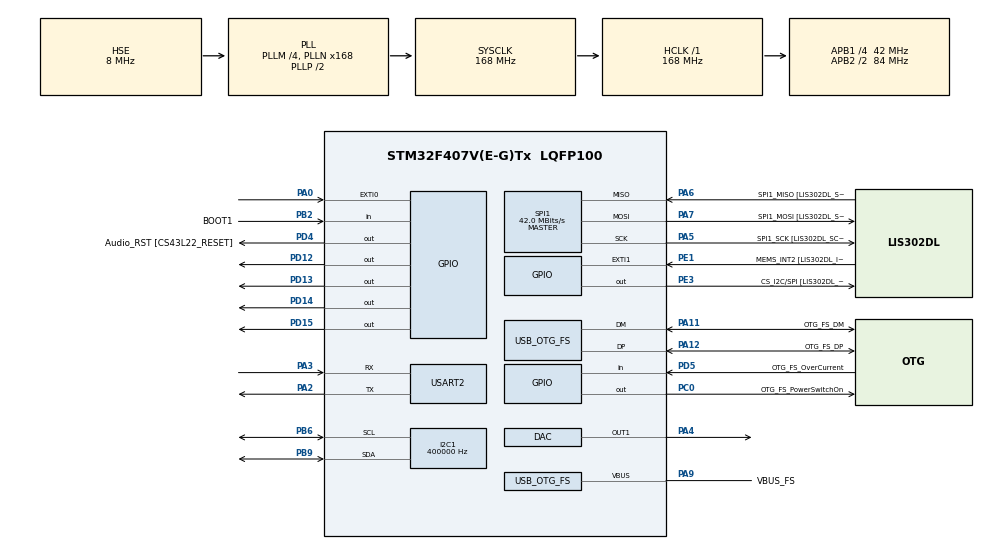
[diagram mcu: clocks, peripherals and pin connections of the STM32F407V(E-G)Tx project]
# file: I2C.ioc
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ADC1.Channel-2\#ChannelRegularConversion=ADC_CHANNEL_TEMPSENSOR
ADC1.ContinuousConvMode=ENABLE
ADC1.NbrOfConversionFlag=1
ADC1.Rank-2\#ChannelRegularConversion=1
ADC1.SamplingTime-2\#ChannelRegularConversion=ADC_SAMPLETIME_84CYCLES
ADC1.master=1
I2C1.ClockSpeed=400000
I2C1.I2C_Mode=I2C_Fast
Mcu.Family=STM32F4
Mcu.Name=STM32F407V(E-G)Tx
Mcu.Package=LQFP100
NVIC.EXTI0_IRQn=true\:3\:0\:true\:false\:true\:true\:true
NVIC.I2C1_ER_IRQn=true\:1\:0\:true\:false\:true\:true\:true
NVIC.I2C1_EV_IRQn=true\:1\:0\:true\:false\:true\:true\:true
NVIC.OTG_FS_IRQn=true\:0\:0\:false\:false\:true\:true\:true
NVIC.PriorityGroup=NVIC_PRIORITYGROUP_4
NVIC.TIM7_IRQn=true\:2\:0\:true\:false\:true\:true\:true
NVIC.USART2_IRQn=true\:2\:0\:true\:false\:true\:true\:true
PA0-WKUP.Signal=GPXTI0
PA10.GPIO_Label=OTG_FS_ID
PA10.GPIO_Mode=GPIO_MODE_AF_PP
PA10.GPIO_PuPd=GPIO_NOPULL
PA10.GPIO_Speed=GPIO_SPEED_FREQ_LOW
PA10.Signal=USB_OTG_FS_ID
PA11.GPIO_Label=OTG_FS_DM
PA11.GPIO_Mode=GPIO_MODE_AF_PP
PA11.GPIO_PuPd=GPIO_NOPULL
PA11.GPIO_Speed=GPIO_SPEED_FREQ_LOW
PA11.Mode=Host_Only
PA11.Signal=USB_OTG_FS_DM
PA12.GPIO_Label=OTG_FS_DP
PA12.GPIO_Mode=GPIO_MODE_AF_PP
PA12.GPIO_PuPd=GPIO_NOPULL
PA12.GPIO_Speed=GPIO_SPEED_FREQ_LOW
PA12.Mode=Host_Only
PA12.Signal=USB_OTG_FS_DP
PA13.GPIO_Label=SWDIO
PA13.Mode=Serial_Wire
PA13.Signal=SYS_JTMS-SWDIO
PA14.GPIO_Label=SWCLK
PA14.Mode=Serial_Wire
PA14.Signal=SYS_JTCK-SWCLK
PA2.Mode=Asynchronous
PA2.Signal=USART2_TX
PA3.Mode=Asynchronous
PA3.Signal=USART2_RX
PA4.Signal=COMP_DAC1_group
PA5.GPIO_Label=SPI1_SCK [LIS302DL_SCL/SPC]
PA5.GPIO_Mode=GPIO_MODE_AF_PP
PA5.GPIO_PuPd=GPIO_NOPULL
PA5.GPIO_Speed=GPIO_SPEED_FREQ_LOW
PA5.Mode=Full_Duplex_Master
PA5.Signal=SPI1_SCK
PA6.GPIO_Label=SPI1_MISO [LIS302DL_SDO]
PA6.GPIO_Mode=GPIO_MODE_AF_PP
PA6.GPIO_PuPd=GPIO_NOPULL
PA6.GPIO_Speed=GPIO_SPEED_FREQ_LOW
PA6.Mode=Full_Duplex_Master
PA6.Signal=SPI1_MISO
PA7.GPIO_Label=SPI1_MOSI [LIS302DL_SDA/SDI/SDO]
PA7.GPIO_Mode=GPIO_MODE_AF_PP
PA7.GPIO_PuPd=GPIO_NOPULL
PA7.GPIO_Speed=GPIO_SPEED_FREQ_LOW
PA7.Mode=Full_Duplex_Master
PA7.Signal=SPI1_MOSI
PA9.GPIO_Label=VBUS_FS
PA9.GPIO_Mode=GPIO_MODE_INPUT
PA9.GPIO_PuPd=GPIO_NOPULL
PA9.Mode=Activate_VBUS
PA9.Signal=USB_OTG_FS_VBUS
PB10.GPIO_Label=CLK_IN [MP45DT02_CLK]
PB10.GPIO_Mode=GPIO_MODE_AF_PP
PB10.GPIO_PuPd=GPIO_NOPULL
PB10.GPIO_Speed=GPIO_SPEED_FREQ_LOW
PB10.Signal=I2S2_CK
PB2.GPIO_Label=BOOT1
PB2.GPIO_Mode=GPIO_MODE_INPUT
PB2.GPIO_PuPd=GPIO_NOPULL
PB2.Signal=GPIO_Input
PB3.GPIO_Label=SWO
PB3.Signal=SYS_JTDO-SWO
PB6.GPIO_PuPdOD=GPIO_PULLUP
PB6.Mode=I2C
PB6.Signal=I2C1_SCL
PB9.GPIO_PuPdOD=GPIO_PULLUP
PB9.Mode=I2C
PB9.Signal=I2C1_SDA
PC0.GPIO_Label=OTG_FS_PowerSwitchOn
PC0.GPIO_PuPd=GPIO_NOPULL
PC0.GPIO_Speed=GPIO_SPEED_FREQ_LOW
PC0.PinState=GPIO_PIN_SET
PC0.Signal=GPIO_Output
PC10.GPIO_Label=I2S3_SCK [CS43L22_SCLK]
PC10.GPIO_Mode=GPIO_MODE_AF_PP
PC10.GPIO_PuPd=GPIO_NOPULL
PC10.GPIO_Speed=GPIO_SPEED_FREQ_LOW
PC10.Signal=I2S3_CK
PC12.GPIO_Label=I2S3_SD [CS43L22_SDIN]
PC12.GPIO_Mode=GPIO_MODE_AF_PP
PC12.GPIO_PuPd=GPIO_NOPULL
PC12.GPIO_Speed=GPIO_SPEED_FREQ_LOW
PC12.Signal=I2S3_SD
PC14-OSC32_IN.GPIO_Label=PC14-OSC32_IN
PC14-OSC32_IN.Mode=LSE-External-Oscillator
PC14-OSC32_IN.Signal=RCC_OSC32_IN
PC15-OSC32_OUT.GPIO_Label=PC15-OSC32_OUT
PC15-OSC32_OUT.Mode=LSE-External-Oscillator
PC15-OSC32_OUT.Signal=RCC_OSC32_OUT
PC3.GPIO_Label=PDM_OUT [MP45DT02_DOUT]
PC3.GPIO_Mode=GPIO_MODE_AF_PP
PC3.GPIO_PuPd=GPIO_NOPULL
PC3.GPIO_Speed=GPIO_SPEED_FREQ_LOW
PC3.Signal=I2S2_SD
PC7.GPIO_Label=I2S3_MCK [CS43L22_MCLK]
PC7.GPIO_Mode=GPIO_MODE_AF_PP
PC7.GPIO_PuPd=GPIO_NOPULL
PC7.GPIO_Speed=GPIO_SPEED_FREQ_LOW
PC7.Signal=I2S3_MCK
PD12.Signal=GPIO_Output
PD13.Signal=GPIO_Output
PD14.Signal=GPIO_Output
PD15.Signal=GPIO_Output
PD4.GPIO_Label=Audio_RST [CS43L22_RESET]
PD4.GPIO_PuPd=GPIO_NOPULL
PD4.GPIO_Speed=GPIO_SPEED_FREQ_LOW
PD4.Signal=GPIO_Output
PD5.GPIO_Label=OTG_FS_OverCurrent
PD5.GPIO_Mode=GPIO_MODE_INPUT
PD5.GPIO_PuPd=GPIO_NOPULL
PD5.Signal=GPIO_Input
PE1.GPIO_Label=MEMS_INT2 [LIS302DL_INT2]
PE1.GPIO_ModeDefaultEXTI=GPIO_MODE_EVT_RISING
PE1.GPIO_PuPd=GPIO_NOPULL
PE1.Signal=GPXTI1
PE3.GPIO_Label=CS_I2C/SPI [LIS302DL_CS_I2C/SPI]
PE3.GPIO_PuPd=GPIO_NOPULL
PE3.GPIO_Speed=GPIO_SPEED_FREQ_LOW
PE3.Signal=GPIO_Output
PH0-OSC_IN.GPIO_Label=PH0-OSC_IN
PH0-OSC_IN.Mode=HSE-External-Oscillator
PH0-OSC_IN.Signal=RCC_OSC_IN
PH1-OSC_OUT.GPIO_Label=PH1-OSC_OUT
PH1-OSC_OUT.Mode=HSE-External-Oscillator
PH1-OSC_OUT.Signal=RCC_OSC_OUT
ProjectManager.HeapSize=0x200
ProjectManager.StackSize=0x400
ProjectManager.TargetToolchain=STM32CubeIDE
RCC.48MHZClocksFreq_Value=48000000
RCC.AHBFreq_Value=168000000
RCC.APB1CLKDivider=RCC_HCLK_DIV4
RCC.APB1Freq_Value=42000000
RCC.APB1TimFreq_Value=84000000
RCC.APB2CLKDivider=RCC_HCLK_DIV2
RCC.APB2Freq_Value=84000000
RCC.APB2TimFreq_Value=168000000
RCC.CortexFreq_Value=168000000
RCC.HCLKFreq_Value=168000000
RCC.HSE_VALUE=8000000
RCC.HSI_VALUE=16000000
RCC.PLLM=4
RCC.PLLN=168
RCC.PLLQ=7
RCC.SYSCLKFreq_VALUE=168000000
RCC.SYSCLKSource=RCC_SYSCLKSOURCE_PLLCLK
RCC.VCOOutputFreq_Value=336000000
SH.COMP_DAC1_group.0=DAC_OUT1,DAC_OUT1
SPI1.BaudRatePrescaler=SPI_BAUDRATEPRESCALER_2
SPI1.BaudRatePrescaler-Full_Duplex_Master=SPI_BAUDRATEPRESCALER_2
SPI1.CalculateBaudRate=42.0 MBits/s
SPI1.CalculateBaudRate-Full_Duplex_Master=42.0 MBits/s
SPI1.Direction=SPI_DIRECTION_2LINES
SPI1.Mode=SPI_MODE_MASTER
SPI1.Mode-Full_Duplex_Master=SPI_MODE_MASTER
SPI1.VirtualType=VM_MASTER
TIM7.Period=8400-1
TIM7.Prescaler=1000-1
USART2.VirtualMode=VM_ASYNC
USB_HOST.BSP.number=1
USB_HOST.USBH_HandleTypeDef-CDC_FS=hUsbHostFS
USB_HOST.VirtualModeFS=Cdc
USB_HOST0.BSP.STBoard=false
USB_HOST0.BSP.api=Unknown
USB_HOST0.BSP.i2caddr=0
USB_HOST0.BSP.i2creg=0
USB_HOST0.BSP.instance=PC0
USB_HOST0.BSP.ip=GPIO
USB_HOST0.BSP.mode=Output
USB_HOST0.BSP.name=Drive_VBUS_FS
USB_HOST0.BSP.solution=PC0
USB_OTG_FS.VirtualMode=Host_Only
USB_OTG_FS.phy_itface=HCD_PHY_EMBEDDED
VP_ADC1_TempSens_Input.Mode=IN-TempSens
VP_TIM7_VS_ClockSourceINT.Mode=Enable_Timer
VP_USB_HOST_VS_USB_HOST_CDC_FS.Mode=CDC_FS
board=STM32F407G-DISC1

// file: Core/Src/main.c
/* USER CODE BEGIN Header */
/**
  ******************************************************************************
  * @file           : main.c
  * @brief          : Main program body
  ******************************************************************************
  * @attention
  *
  * <h2><center>&copy; Copyright (c) 2020 STMicroelectronics.
  * All rights reserved.</center></h2>
  *
  * This software component is licensed by ST under Ultimate Liberty license
  * SLA0044, the "License"; You may not use this file except in compliance with
  * the License. You may obtain a copy of the License at:
  *                             www.st.com/SLA0044
  *
  ******************************************************************************
  */
/* USER CODE END Header */

#include "main.h"
#include "adc.h"
#include "dac.h"
#include "i2c.h"
#include "spi.h"
#include "tim.h"
#include "usart.h"
#include "usb_host.h"
#include "gpio.h"

/* USER CODE BEGIN Includes */
#include <stdio.h>
#include <string.h>
#include "at24c\at24c.h"
/* USER CODE END Includes */

void SystemClock_Config(void);
void MX_USB_HOST_Process(void);

/* USER CODE BEGIN PFP */
int _write(int file, char* p, int len)
{
	HAL_UART_Transmit(&huart2, p, len, 10);
	return len;
}

/* USER CODE END PFP */

int main(void)
{
  /* USER CODE BEGIN 1 */
	uint8_t i, eeprom[32];
  /* USER CODE END 1 */

  /* MCU Configuration--------------------------------------------------------*/

  /* Reset of all peripherals, Initializes the Flash interface and the Systick. */
  HAL_Init();

  /* Configure the system clock */
  SystemClock_Config();

  /* Initialize all configured peripherals */
  MX_GPIO_Init();
  MX_I2C1_Init();
  MX_SPI1_Init();
  MX_USB_HOST_Init();
  MX_TIM7_Init();
  MX_USART2_UART_Init();
  MX_ADC1_Init();
  MX_DAC_Init();
  /* USER CODE BEGIN 2 */
  printf("\n32F4Discovery EEPROM P/G[%s]\n", __TIMESTAMP__);
  printf("SYSCLK Frequency = %d\n", (int) HAL_RCC_GetSysClockFreq());
  printf("HCLK 	 Frequency = %d\n", (int) HAL_RCC_GetHCLKFreq());\
  printf("PCLK 	 Frequency = %d\n", (int) HAL_RCC_GetPCLK1Freq());
  /* USER CODE END 2 */

  /* Infinite loop */
  /* USER CODE BEGIN WHILE */
  if (AT24C_Read (&hi2c1, 0, eeprom, sizeof(eeprom)) != HAL_OK)
  {
     printf ("AT24C_Read error\n");
  }

  for (i = 0; i < sizeof(eeprom); i++)
    printf ("%02X ", eeprom[i]);
  printf ("\n");

  uint8_t val = eeprom[0] + 1;

  memset (eeprom, val, sizeof(eeprom));
  if (AT24C_Write (&hi2c1, 0, eeprom, sizeof(eeprom)) != HAL_OK)
  {
    printf ("AT24C_Write error\n");
  }

  while (1)
  {
	  HAL_GPIO_TogglePin(GPIOD, GPIO_PIN_12);
	  HAL_Delay(500);
    /* USER CODE END WHILE */
    MX_USB_HOST_Process();

  }
}

void SystemClock_Config(void)
{
  RCC_OscInitTypeDef RCC_OscInitStruct = {0};
  RCC_ClkInitTypeDef RCC_ClkInitStruct = {0};

  /** Configure the main internal regulator output voltage
  */
  __HAL_RCC_PWR_CLK_ENABLE();
  __HAL_PWR_VOLTAGESCALING_CONFIG(PWR_REGULATOR_VOLTAGE_SCALE1);
  /** Initializes the CPU, AHB and APB busses clocks
  */
  RCC_OscInitStruct.OscillatorType = RCC_OSCILLATORTYPE_HSE;
  RCC_OscInitStruct.HSEState = RCC_HSE_ON;
  RCC_OscInitStruct.PLL.PLLState = RCC_PLL_ON;
  RCC_OscInitStruct.PLL.PLLSource = RCC_PLLSOURCE_HSE;
  RCC_OscInitStruct.PLL.PLLM = 4;
  RCC_OscInitStruct.PLL.PLLN = 168;
  RCC_OscInitStruct.PLL.PLLP = RCC_PLLP_DIV2;
  RCC_OscInitStruct.PLL.PLLQ = 7;
  if (HAL_RCC_OscConfig(&RCC_OscInitStruct) != HAL_OK)
  {
    Error_Handler();
  }
  /** Initializes the CPU, AHB and APB busses clocks
  */
  RCC_ClkInitStruct.ClockType = RCC_CLOCKTYPE_HCLK|RCC_CLOCKTYPE_SYSCLK
                              |RCC_CLOCKTYPE_PCLK1|RCC_CLOCKTYPE_PCLK2;
  RCC_ClkInitStruct.SYSCLKSource = RCC_SYSCLKSOURCE_PLLCLK;
  RCC_ClkInitStruct.AHBCLKDivider = RCC_SYSCLK_DIV1;
  RCC_ClkInitStruct.APB1CLKDivider = RCC_HCLK_DIV4;
  RCC_ClkInitStruct.APB2CLKDivider = RCC_HCLK_DIV2;

  if (HAL_RCC_ClockConfig(&RCC_ClkInitStruct, FLASH_LATENCY_5) != HAL_OK)
  {
    Error_Handler();
  }
}

void Error_Handler(void)
{
}

/************************ (C) COPYRIGHT STMicroelectronics *****END OF FILE****/
